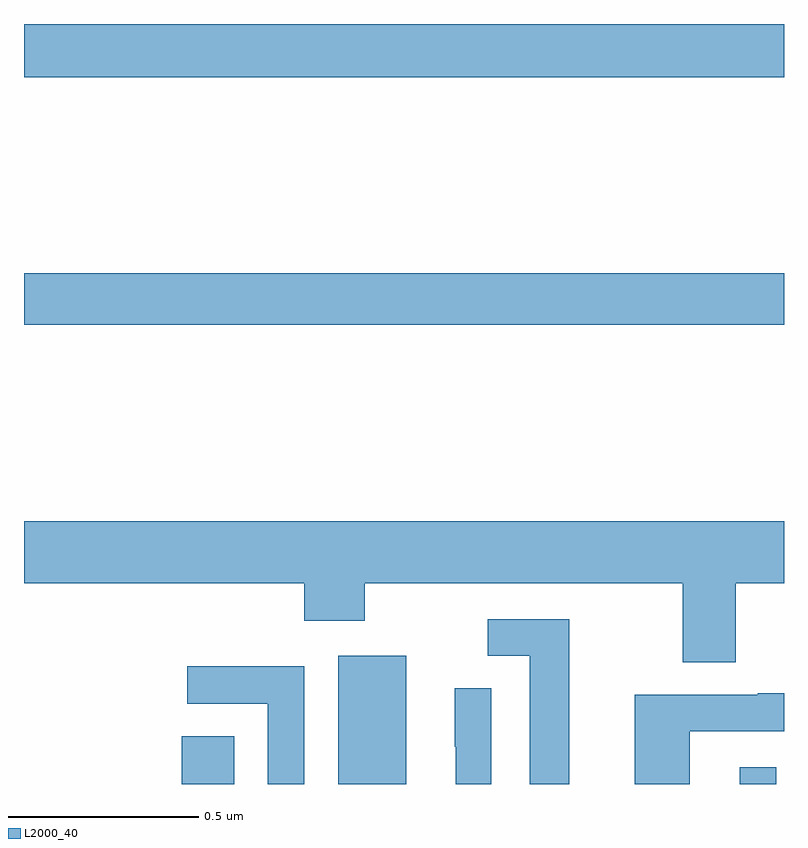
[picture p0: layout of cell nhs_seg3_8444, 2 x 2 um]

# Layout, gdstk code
import gdstk
lib = gdstk.Library(unit=1e-6, precision=1e-09)
def R(c, l, rs):  # rectangles x0, y0, x1, y1
    for r in rs: c.add(gdstk.rectangle(r[:2], r[2:], *l))
def P(c, l, *ps):  # polygons
    for p in ps: c.add(gdstk.Polygon(p, *l))
L2000_40 = (2000, 40)

nhs_seg3_8444 = lib.new_cell('nhs_seg3_8444')
R(nhs_seg3_8444, L2000_40, [(216.415,688.4,216.553,688.526), (216.827,688.4,217.006,688.738), (217.883,688.4,217.98,688.444), (216,689.608,218,689.744), (216,690.26,218,690.4)])
P(nhs_seg3_8444, L2000_40, [(217.873,688.928),(218,688.928),(218,689.092),(216,689.092),(216,688.928),(216.737,688.928),(216.737,688.829),(216.897,688.829),(216.897,688.928),(217.733,688.928),(217.733,688.72),(217.873,688.72)],
  [(217.435,688.833),(217.221,688.833),(217.221,688.737),(217.331,688.737),(217.331,688.4),(217.435,688.4)],
  [(216.738,688.71),(216.429,688.71),(216.429,688.611),(216.642,688.611),(216.642,688.4),(216.738,688.4)],
  [(217.23,688.652),(217.134,688.652),(217.134,688.498),(217.136,688.498),(217.136,688.4),(217.23,688.4)],
  [(217.752,688.539),(218,688.539),(218,688.639),(217.931,688.639),(217.931,688.635),(217.607,688.635),(217.607,688.4),(217.752,688.4)])

lib.write_gds('nhs_seg3_8444.gds')
